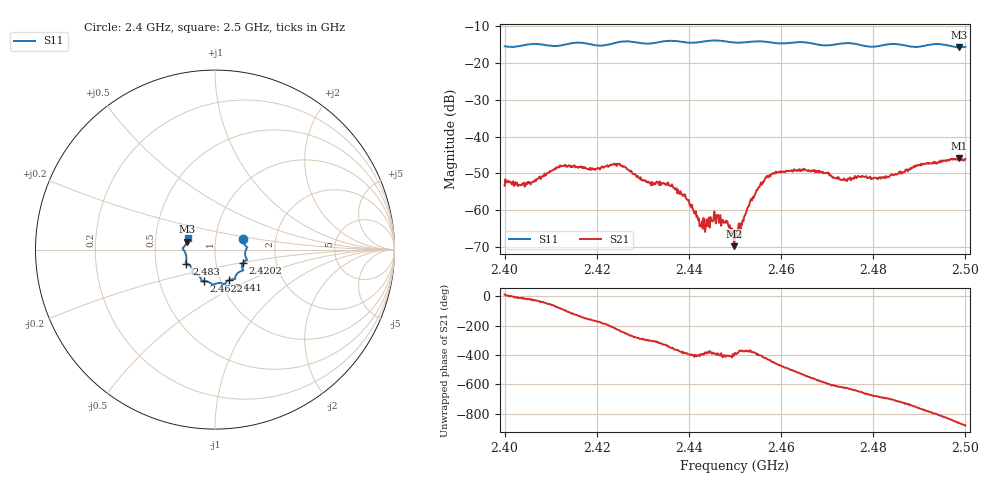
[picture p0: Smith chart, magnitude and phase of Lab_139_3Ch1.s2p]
# Hz S RI R 50
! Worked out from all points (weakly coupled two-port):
!   601 points, 2.4 GHz to 2.5 GHz, reference 50 ohm
!   highest |S21| = -45.94 dB at 2.4987 GHz (marker M1); lowest = -69.7 dB at 2.4498 GHz (marker M2)
!   lowest |S11| = -15.8 dB at 2.4987 GHz (marker M3), VSWR 1.39, Z = 36.4 + j3.29 ohm
!   |S11| at or under -10 dB: start of sweep to end of sweep
!   S12 and S22 are empty: the file has one direction only
!   S11 on the Smith chart (normalised r, x): 2.4 GHz: 1.36, +0.17; 2.4202 GHz: 1.35, -0.20; 2.441 GHz: 1.10, -0.39; 2.4622 GHz: 0.83, -0.30; 2.483 GHz: 0.72, -0.12; 2.5 GHz: 0.73, +0.09
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2.4e9  0.1565 0.0601  0.0021 0.000473  0 0  0 0
2.406e9  0.1795 0.0136  0.00224 -0.000919  0 0  0 0
2.4125e9  0.1694 -0.0362  0.000178 -0.004  0 0  0 0
2.416667e9  0.1775 -0.0584  -0.00294 -0.00253  0 0  0 0
2.420167e9  0.156 -0.0719  -0.00369 -0.000536  0 0  0 0
2.425e9  0.1556 -0.1128  -0.00258 0.00339  0 0  0 0
2.433333e9  0.1128 -0.1523  0.0016 0.00171  0 0  0 0
2.436833e9  0.1088 -0.1654  0.00198 -6.56e-05  0 0  0 0
2.441e9  0.0769 -0.1705  0.000739 -0.000674  0 0  0 0
2.443e9  0.0615 -0.1834  0.000435 -0.000359  0 0  0 0
2.445833e9  0.052 -0.1941  0.000579 -0.000325  0 0  0 0
2.448333e9  0.0412 -0.1888  0.000511 -0.000496  0 0  0 0
2.449833e9  0.0284 -0.1861  0.000267 -0.000187  0 0  0 0
2.45e9  0.0267 -0.1862  0.000402 -0.000195  0 0  0 0
2.4565e9  -0.016 -0.1927  0.00133 -0.00231  0 0  0 0
2.462167e9  -0.0632 -0.1764  -0.00276 -0.00205  0 0  0 0
2.466667e9  -0.0765 -0.1668  -0.00332 0.00107  0 0  0 0
2.4735e9  -0.1231 -0.1364  -0.000437 0.00258  0 0  0 0
2.483e9  -0.1592 -0.0779  0.00258 0.00124  0 0  0 0
2.483333e9  -0.1608 -0.0772  0.00262 0.00105  0 0  0 0
2.498667e9  -0.1557 0.044  -0.00414 -0.00289  0 0  0 0
2.5e9  -0.153 0.0626  -0.0047 -0.00157  0 0  0 0
